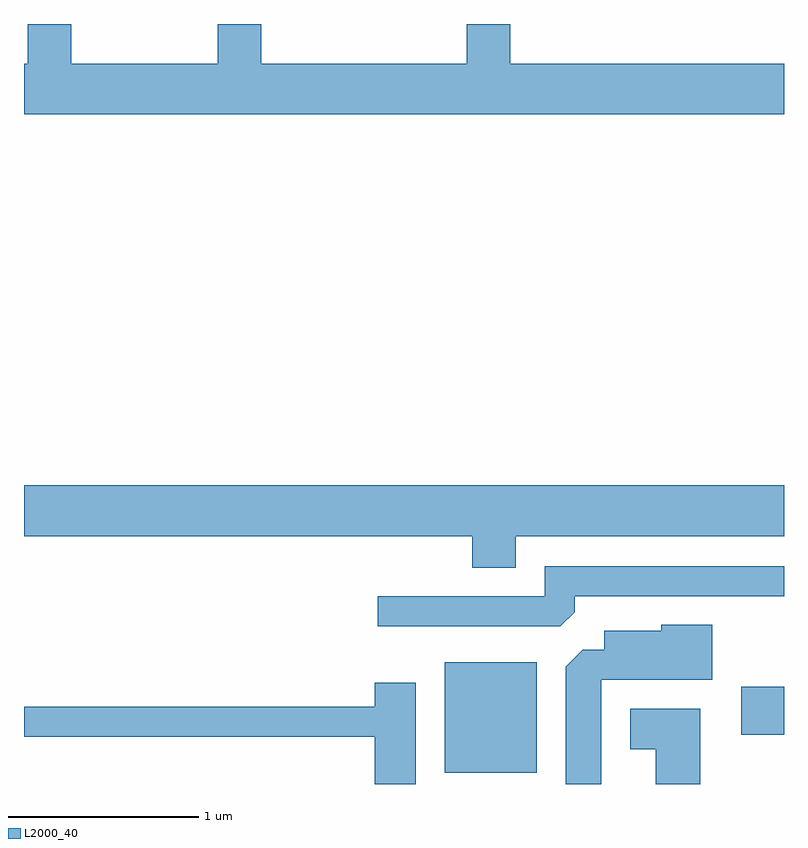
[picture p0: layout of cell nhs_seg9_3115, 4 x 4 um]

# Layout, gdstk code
import gdstk
lib = gdstk.Library(unit=1e-6, precision=1e-09)
def R(c, l, rs):  # rectangles x0, y0, x1, y1
    for r in rs: c.add(gdstk.rectangle(r[:2], r[2:], *l))
def P(c, l, *ps):  # polygons
    for p in ps: c.add(gdstk.Polygon(p, *l))
L2000_40 = (2000, 40)

nhs_seg9_3115 = lib.new_cell('nhs_seg9_3115')
R(nhs_seg9_3115, L2000_40, [(277.826,2070.491,278.309,2071.074), (279.386,2070.691,279.611,2070.944)])
P(nhs_seg9_3115, L2000_40, [(279.611,2074.224),(278.169,2074.224),(278.169,2074.432),(277.941,2074.432),(277.941,2074.224),(276.859,2074.224),(276.859,2074.432),(276.631,2074.432),(276.631,2074.224),(275.859,2074.224),(275.859,2074.432),(275.631,2074.432),(275.631,2074.224),(275.611,2074.224),(275.611,2073.956),(279.611,2073.956)],
  [(278.199,2071.736),(279.611,2071.736),(279.611,2072.004),(275.611,2072.004),(275.611,2071.736),(277.971,2071.736),(277.971,2071.571),(278.199,2071.571)],
  [(278.509,2071.337),(278.509,2071.421),(279.611,2071.421),(279.611,2071.579),(278.351,2071.579),(278.351,2071.419),(277.473,2071.419),(277.473,2071.261),(278.434,2071.261)],
  [(278.649,2070.981),(279.234,2070.981),(279.234,2071.269),(278.966,2071.269),(278.966,2071.239),(278.666,2071.239),(278.666,2071.139),(278.552,2071.139),(278.461,2071.048),(278.461,2070.432),(278.649,2070.432)],
  [(277.674,2070.964),(277.456,2070.964),(277.456,2070.839),(275.611,2070.839),(275.611,2070.681),(277.456,2070.681),(277.456,2070.432),(277.674,2070.432)],
  [(279.169,2070.829),(278.801,2070.829),(278.801,2070.616),(278.936,2070.616),(278.936,2070.432),(279.169,2070.432)])

lib.write_gds('nhs_seg9_3115.gds')
